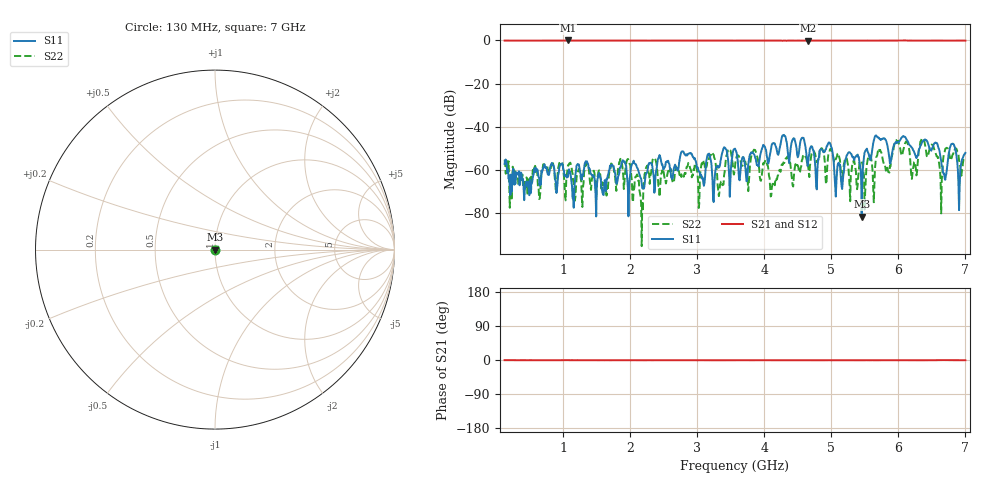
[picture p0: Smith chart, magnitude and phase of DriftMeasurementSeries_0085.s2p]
# Hz S RI R 50.000000
! Metas.Vna.Tools, 2.8.8664.20301
! Metas.Vna.Data, 2.8.8664.20285
! Created: UTC 2024.02.11 10:08:46
! FREQ  re:S1,1  im:S1,1  re:S2,1  im:S2,1  re:S1,2  im:S1,2  re:S2,2  im:S2,2
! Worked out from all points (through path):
!   801 points, 130 MHz to 7 GHz, reference 50 ohm
!   highest |S21| = -0.05 dB at 1.075 GHz (marker M1); lowest = -0.2 dB at 4.656 GHz (marker M2)
!   lowest |S11| = -81.4 dB at 5.454 GHz (marker M3), VSWR 1.00, Z = 50 - j0.00194 ohm
!   |S11| at or under -10 dB: start of sweep to end of sweep
!   |S22| runs from -95.1 to -45.3 dB; largest |S21 - S12| = 0.021
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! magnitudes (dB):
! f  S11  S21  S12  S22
! 130 MHz  -57.1  -0.1  0.0  -55.2
! 1.075 GHz  -63.2  0.0  0.0  -57.8
! 1.281 GHz  -64.5  -0.1  0.0  -72.2
! 2.423 GHz  -54.5  -0.1  0.0  -67.4
! 3.084 GHz  -63.4  -0.1  0.0  -55.3
! 3.179 GHz  -52.3  -0.2  0.0  -54.4
! 3.256 GHz  -66.8  -0.2  0.0  -54.3
! 3.342 GHz  -57.5  -0.1  0.0  -66.7
! 3.462 GHz  -55.2  -0.1  0.0  -50.9
! 3.565 GHz  -50.1  -0.1  0.0  -58.3
! 3.857 GHz  -53.1  -0.1  0.0  -50.7
! 4.123 GHz  -47.7  -0.1  0.0  -66.4
! 4.656 GHz  -56.4  -0.2  0.0  -58.1
! 4.716 GHz  -49.3  -0.1  0.0  -51.8
! 5.454 GHz  -81.4  -0.2  0.0  -56.4
! 5.669 GHz  -44.0  -0.2  0.0  -54.2
! 5.858 GHz  -52.6  -0.1  0.0  -60.8
! 5.978 GHz  -47.5  -0.1  0.0  -46.8
! 6.227 GHz  -51.0  -0.1  0.0  -58.1
! 6.356 GHz  -47.0  -0.1  0.0  -45.3
! 6.631 GHz  -54.4  -0.1  0.0  -64.9
! 7 GHz  -52.0  -0.1  0.0  -53.8
